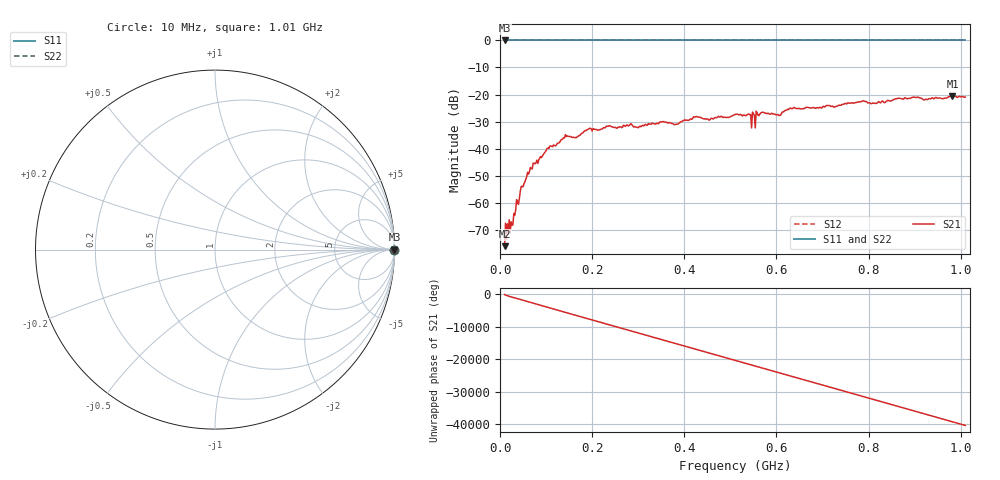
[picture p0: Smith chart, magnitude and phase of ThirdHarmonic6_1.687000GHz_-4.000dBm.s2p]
! 8/16/2025 8:15:07 PM
! C:\ANRITSUVNA\TEMP\TEMP.S2P
! CHANNEL.1
! TR.MEASUREMENT
! RAW.DATA
! RF.CORRECTION.OFF
! AVERAGING.OFF
! IF.BANDWIDTH: 5KHZ
! SWEEPTYPE:  FREQ.SWEEP(Linear)
! Reference Plane Port Info
! PORT:  PORT1  PORT2
! DISTANCE:  0  m  0  m
! TIME:  0  s  0  s
! PHASE.OFFSET:  0  deg.  0  deg.
! LOSS:  0  dB  0  dB
! REF.LOSS:  0  dB  0  dB
! REF.FREQ:  0  Hz  0  Hz
! Power Info
! POWER:  -20  dBm  -20  dBm
! EFF.POWER:  -20  dBm  -20  dBm
! SOURCE.ATTEN:  0  dB  0  dB
! TEST.ATTEN:  0  dB  0  dB
# GHZ S RI R 50.0
! FREQ.GHZ  S11RE  S11IM  S21RE  S21IM  S12RE  S12IM  S22RE  S22IM
!; PortSelection: Port_12
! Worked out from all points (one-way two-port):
!   501 points, 10 MHz to 1.01 GHz, reference 50 ohm
!   highest |S21| = -20.52 dB at 982 MHz (marker M1); lowest = -76.1 dB at 10 MHz (marker M2)
!   lowest |S11| = 0.0 dB at 10 MHz (marker M3)
!   |S11| at or under -10 dB: nowhere
!   |S22| runs from 0.0 to 0.0 dB; largest |S21 - S12| = 1.1
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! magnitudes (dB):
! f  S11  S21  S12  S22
! 10 MHz  0.0  -76.1  0.0  0.0
! 16 MHz  0.0  -67.8  0.0  0.0
! 26 MHz  0.0  -68.4  0.0  0.0
! 48 MHz  0.0  -54.0  0.0  0.0
! 70 MHz  0.0  -47.5  0.0  0.0
! 106 MHz  0.0  -39.9  0.0  0.0
! 142 MHz  0.0  -34.8  0.0  0.0
! 178 MHz  0.0  -34.3  0.0  0.0
! 234 MHz  0.0  -31.8  0.0  0.0
! 344 MHz  0.0  -30.8  0.0  0.0
! 382 MHz  0.0  -31.0  0.0  0.0
! 424 MHz  0.0  -28.3  0.0  0.0
! 510 MHz  0.0  -27.4  0.0  0.0
! 540 MHz  0.0  -27.2  0.0  0.0
! 550 MHz  0.0  -27.2  0.0  0.0
! 570 MHz  0.0  -26.5  0.0  0.0
! 604 MHz  0.0  -27.5  0.0  0.0
! 634 MHz  0.0  -25.3  0.0  0.0
! 678 MHz  0.0  -24.9  0.0  0.0
! 844 MHz  0.0  -22.3  0.0  0.0
! 982 MHz  0.0  -20.5  0.0  0.0
! 1.01 GHz  0.0  -20.9  0.0  0.0
